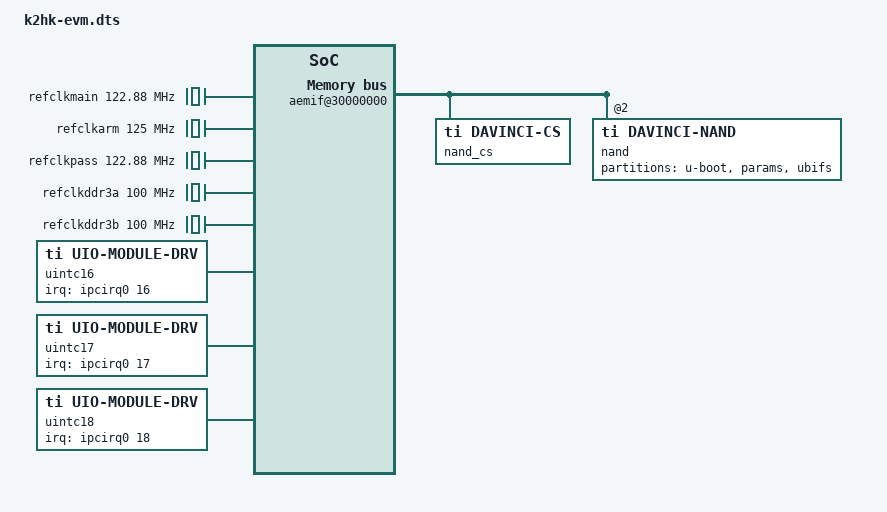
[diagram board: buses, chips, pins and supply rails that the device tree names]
/*
 * Keystone 2 Hawking/Kepler EVM device tree file
 *
 * Copyright (c) 2012-14, Texas Instruments Inc
 * All rights reserved.
 *
 * Redistribution and use in source and binary forms, with or without
 * modification, are permitted provided that the following conditions are
 * met:
 *
 * * Redistributions of source code must retain the above copyright
 *	notice, this list of conditions and the following disclaimer.
 * * Redistributions in binary form must reproduce the above copyright
 *	notice, this list of conditions and the following disclaimer in
 *	the documentation and/or other materials provided with the
 *	distribution.
 * * Neither the name of TI nor the names of its contributors may be
 *	used to endorse or promote products derived from this software
 *	without specific prior written permission.
 *
 * THIS SOFTWARE IS PROVIDED BY THE COPYRIGHT HOLDERS AND CONTRIBUTORS "AS
 * IS" AND ANY EXPRESS OR IMPLIED WARRANTIES, INCLUDING, BUT NOT LIMITED
 * TO, THE IMPLIED WARRANTIES OF MERCHANTABILITY AND FITNESS FOR A
 * PARTICULAR PURPOSE ARE DISCLAIMED. IN NO EVENT SHALL THE COPYRIGHT
 * HOLDER OR CONTRIBUTORS BE LIABLE FOR ANY DIRECT, INDIRECT, INCIDENTAL,
 * SPECIAL, EXEMPLARY, OR CONSEQUENTIAL DAMAGES (INCLUDING, BUT NOT LIMITED
 * TO, PROCUREMENT OF SUBSTITUTE GOODS OR SERVICES; LOSS OF USE, DATA, OR
 * PROFITS; OR BUSINESS INTERRUPTION) HOWEVER CAUSED AND ON ANY THEORY OF
 * LIABILITY, WHETHER IN CONTRACT, STRICT LIABILITY, OR TORT (INCLUDING
 * NEGLIGENCE OR OTHERWISE) ARISING IN ANY WAY OUT OF THE USE OF THIS
 * SOFTWARE, EVEN IF ADVISED OF THE POSSIBILITY OF SUCH DAMAGE.
 */

/dts-v1/;

/include/ "keystone.dtsi"
/include/ "k2hk.dtsi"

/ {
	compatible = "ti,k2hk-evm", "ti,keystone";

	aliases {
		ethernet1 = &interface1;
		mdio-gpio0 = <&mdiox0>;
	};

    /*****************************************************************************
     * SYSLIB qos tree changes:
     *  - L3 Shapers send packets back to PDSP5 i.e. 645
     *  - L2 Shapers send the packets to CPSW i.e. 648
     *****************************************************************************/
	l3qostree: l3-qos-tree {
		output-queue = <645>;		/* L3 QOS outputs to PDSP5 for L2 QOS */
	};
	l2qostree0: l2-qos-tree-eth0 {
		output-queue = <648>;		/* L2 QOS on eth0 outputs to CPSW */
	};
	l2qostree1: l2-qos-tree-eth1 {
		output-queue = <648>;		/* L2 QOS on eth1 outputs to CPSW */
	};

	/include/ "keystone-qostree.dtsi"

	soc {
		clocks {
			refclkmain: refclkmain {
				#clock-cells = <0>;
				compatible = "fixed-clock";
				clock-frequency = <122880000>;
				clock-output-names = "refclk-main";
			};

			refclkarm: refclkarm {
				#clock-cells = <0>;
				compatible = "fixed-clock";
				clock-frequency = <125000000>;
				clock-output-names = "refclk-arm";
			};

			refclkpass: refclkpass {
				#clock-cells = <0>;
				compatible = "fixed-clock";
				clock-frequency = <122880000>;
				clock-output-names = "refclk-pass";
			};

			refclkddr3a: refclkddr3a {
				#clock-cells = <0>;
				compatible = "fixed-clock";
				clock-frequency = <100000000>;
				clock-output-names = "refclk-ddr3a";
			};

			refclkddr3b: refclkddr3b {
				#clock-cells = <0>;
				compatible = "fixed-clock";
				clock-frequency = <100000000>;
				clock-output-names = "refclk-ddr3b";
			};

		};

		aemif@30000000 {
			nand_cs:cs2@30000000 {
				compatible = "ti,davinci-cs";
				#address-cells = <1>;
				#size-cells = <1>;
				/* all timings in nanoseconds */
				ti,davinci-cs-ta = <12>;
				ti,davinci-cs-rhold = <6>;
				ti,davinci-cs-rstrobe = <23>;
				ti,davinci-cs-rsetup = <9>;
				ti,davinci-cs-whold = <8>;
				ti,davinci-cs-wstrobe = <23>;
				ti,davinci-cs-wsetup = <8>;
			};

			nand@2,0 {
				compatible = "ti,davinci-nand";
				reg = <2 0x0 0x8000000
					6 0x0 0x100>;
				#address-cells = <1>;
				#size-cells = <1>;
				ti,davinci-chipselect = <0>;
				ti,davinci-mask-ale = <0x2000>;
				ti,davinci-mask-cle = <0x4000>;
				ti,davinci-mask-chipsel = <0>;
				ti,davinci-ecc-mode = "hw";
				ti,davinci-ecc-bits = <4>;
				ti,davinci-nand-use-bbt;
				ti,davinci-no-subpage-write;
				clocks = <&clkaemif>;
				clock-names = "aemif";

				partition@0 {
					label = "u-boot";
					reg = <0x0 0x100000>;
					read-only;
				};

				partition@100000 {
					label = "params";
					reg = <0x100000 0x80000>;
					read-only;
				};

				partition@180000 {
					label = "ubifs";
					reg = <0x180000 0x1fe80000>;
				};
			};
		};

		hwqueue0: hwqueue@2a40000 {
			queues {
				qos-inputs-1 {
					values			= <8000 192>;
					pdsp-id			= <3>;
					ticks-per-sec		= <10000>;
					qos-cfg			= <4 50 1 1 0xf00 0 0>;
					sched-port-configs	= <0 20 0x1c8>;
					drop-out-profiles	= <0 36 0xc>;
					drop-cfg-profiles	= <0 8 0x14>;
					drop-queue-configs	= <0 80 0x4>;
					drop-policies           = <&droppolicies>;
					qos-tree                = <&l3qostree>;
					statistics-profiles	= <0 48>;
					reserved;
				};
				qos-inputs-2 {
					values			= <6400 192>;
					pdsp-id			= <7>;
					ticks-per-sec		= <10000>;
					qos-cfg			= <4 50 1 1 0xf00 0 0>;
					sched-port-configs	= <0 20 0x1c8>;
					drop-out-profiles	= <0 36 0xc>;
					drop-cfg-profiles	= <0 8 0x14>;
					drop-queue-configs	= <0 80 0x4>;
					drop-policies           = <&droppolicies>;
					qos-tree                = <&l2qostree0 &l2qostree1>;
					statistics-profiles	= <0 48>;
					reserved;
				};
			};
		};

		uio_hyperlink0: hyperlink0 {
			compatible = "ti,uio-module-drv";
			mem  = <0x21400000 0x00000100
				0x40000000 0x10000000
				0x0231a000 0x00002000>;
			clocks = <&clkhyperlink0>;
			interrupts	= <0 387 0x101>;
			label = "hyperlink0";
			cfg-params
			{
				ti,serdes_refclk_khz = <312500>;
				ti,serdes_maxserrate_khz = <6250000>;
				ti,serdes_lanerate = "half";
				ti,serdes_numlanes = <4>;
				ti,serdes_c1 = <4 4 4 4>;
				ti,serdes_c2 = <0 0 0 0>;
				ti,serdes_cm = <0 0 0 0>;
				ti,serdes_tx_att = <12 12 12 12>;
				ti,serdes_tx_vreg = <4 4 4 4>;
				ti,serdes_rx_att = <11 11 11 11>;
				ti,serdes_rx_boost = <3 3 3 3>;
			};
		};

		uio_hyperlink1: hyperlink1 {
			compatible = "ti,uio-module-drv";
			mem  = <0x21400100 0x00000100
				0x28000000 0x08000000
				0x0231c000 0x00002000>;
			clocks = <&clkhyperlink1>;
			interrupts	= <0 388 0x101>;
			label = "hyperlink1";
			cfg-params
			{
				ti,serdes_refclk_khz = <312500>;
				ti,serdes_maxserrate_khz = <6250000>;
				ti,serdes_lanerate = "half";
				ti,serdes_numlanes = <4>;
				ti,serdes_c1 = <4 4 4 4>;
				ti,serdes_c2 = <0 0 0 0>;
				ti,serdes_cm = <0 0 0 0>;
				ti,serdes_tx_att = <12 12 12 12>;
				ti,serdes_tx_vreg = <4 4 4 4>;
				ti,serdes_rx_att = <11 11 11 11>;
				ti,serdes_rx_boost = <3 3 3 3>;
			};
		};

		uio_srio: srio {
			compatible = "ti,uio-module-drv";
			mem  = <0x0232C000 0x00002000
				0x02900000 0x00040000
				0x0232C000 0x00002000>;
			clocks=<&clksrio>;
			interrupts = <0 154 0xf01>;
			label = "srio";
		};

        /*****************************************************************************
         * SYSLIB interrupt definitions:
         *  - The sections below have been added to hook the required interrupts with
         *    the UIO driver.
         *****************************************************************************/

        /******************************************************************************
         * Queue Pend Interrupts: This section should be correlated with the Queue Pend
         * usage by the kernel. Hook only queues which are not used by the kernel with
         * the UIO driver.
         ******************************************************************************/
        uio_uintc40: uintc40 {
            compatible      = "ti,uio-module-drv";
            interrupts      = <0 40 0x101>;
            interrupt-mode  = <1>;               /* One shot interrupt */
            label = "uintc40";
        };
        uio_uintc41: uintc41 {
            compatible      = "ti,uio-module-drv";
            interrupts      = <0 41 0x101>;
            interrupt-mode  = <1>;               /* One shot interrupt */
            label = "uintc41";
        };
        uio_uintc42: uintc42 {
            compatible      = "ti,uio-module-drv";
            interrupts      = <0 42 0x101>;
            interrupt-mode  = <1>;               /* One shot interrupt */
            label = "uintc42";
        };
        uio_uintc43: uintc43 {
            compatible      = "ti,uio-module-drv";
            interrupts      = <0 43 0x101>;
            interrupt-mode  = <1>;               /* One shot interrupt */
            label = "uintc43";
        };
        uio_uintc44: uintc44 {
            compatible      = "ti,uio-module-drv";
            interrupts      = <0 44 0x101>;
            interrupt-mode  = <1>;               /* One shot interrupt */
            label = "uintc44";
        };
        uio_uintc45: uintc45 {
            compatible      = "ti,uio-module-drv";
            interrupts      = <0 45 0x101>;
            interrupt-mode  = <1>;               /* One shot interrupt */
            label = "uintc40";
        };
        uio_uintc46: uintc46 {
            compatible      = "ti,uio-module-drv";
            interrupts      = <0 46 0x101>;
            interrupt-mode  = <1>;               /* One shot interrupt */
            label = "uintc46";
        };
        uio_uintc47: uintc47 {
            compatible      = "ti,uio-module-drv";
            interrupts      = <0 47 0x101>;
            interrupt-mode  = <1>;               /* One shot interrupt */
            label = "uintc47";
        };
        uio_uintc66: uintc66 {
            compatible      = "ti,uio-module-drv";
            interrupts      = <0 66 0x101>;
            interrupt-mode  = <1>;               /* One shot interrupt */
            label = "uintc66";
        };
        uio_uintc67: uintc67 {
            compatible      = "ti,uio-module-drv";
            interrupts      = <0 67 0x101>;
            interrupt-mode  = <1>;               /* One shot interrupt */
            label = "uintc67";
        };
        uio_uintc68: uintc68 {
            compatible      = "ti,uio-module-drv";
            interrupts      = <0 68 0x101>;
            interrupt-mode  = <1>;               /* One shot interrupt */
            label = "uintc68";
        };
        uio_uintc69: uintc69 {
            compatible      = "ti,uio-module-drv";
            interrupts      = <0 69 0x101>;
            interrupt-mode  = <1>;               /* One shot interrupt */
            label = "uintc69";
        };
        uio_uintc70: uintc70 {
            compatible      = "ti,uio-module-drv";
            interrupts      = <0 70 0x101>;
            interrupt-mode  = <1>;               /* One shot interrupt */
            label = "uintc70";
        };
        uio_uintc71: uintc71 {
            compatible      = "ti,uio-module-drv";
            interrupts      = <0 71 0x101>;
            interrupt-mode  = <1>;               /* One shot interrupt */
            label = "uintc71";
        };
        uio_uintc72: uintc72 {
            compatible      = "ti,uio-module-drv";
            interrupts      = <0 72 0x101>;
            interrupt-mode  = <1>;               /* One shot interrupt */
            label = "uintc72";
        };
        uio_uintc73: uintc73 {
            compatible      = "ti,uio-module-drv";
            interrupts      = <0 73 0x101>;
            interrupt-mode  = <1>;               /* One shot interrupt */
            label = "uintc73";
        };
        uio_uintc74: uintc74 {
            compatible      = "ti,uio-module-drv";
            interrupts      = <0 74 0x101>;
            interrupt-mode  = <1>;               /* One shot interrupt */
            label = "uintc74";
        };
        uio_uintc75: uintc75 {
            compatible      = "ti,uio-module-drv";
            interrupts      = <0 75 0x101>;
            interrupt-mode  = <1>;               /* One shot interrupt */
            label = "uintc75";
        };
        uio_uintc76: uintc76 {
            compatible      = "ti,uio-module-drv";
            interrupts      = <0 76 0x101>;
            interrupt-mode  = <1>;               /* One shot interrupt */
            label = "uintc76";
        };
        uio_uintc77: uintc77 {
            compatible      = "ti,uio-module-drv";
            interrupts      = <0 77 0x101>;
            interrupt-mode  = <1>;               /* One shot interrupt */
            label = "uintc77";
        };
        uio_uintc78: uintc78 {
            compatible      = "ti,uio-module-drv";
            interrupts      = <0 78 0x101>;
            interrupt-mode  = <1>;               /* One shot interrupt */
            label = "uintc78";
        };
        uio_uintc79: uintc79 {
            compatible      = "ti,uio-module-drv";
            interrupts      = <0 79 0x101>;
            interrupt-mode  = <1>;               /* One shot interrupt */
            label = "uintc79";
        };

        /******************************************************************************
         * Accumulated Interrupts: [PDSP3]
         ******************************************************************************/
        uio_uintc253: uintc253 {
            compatible      = "ti,uio-module-drv";
            interrupts      = <0 253 0x101>;
            label = "uintc253";
        };
        uio_uintc254: uintc254 {
            compatible      = "ti,uio-module-drv";
            interrupts      = <0 254 0x101>;
            label = "uintc254";
        };
        uio_uintc255: uintc255 {
            compatible      = "ti,uio-module-drv";
            interrupts      = <0 255 0x101>;
            label = "uintc255";
        };
        uio_uintc256: uintc256 {
            compatible      = "ti,uio-module-drv";
            interrupts      = <0 256 0x101>;
            label = "uintc256";
        };
        uio_uintc257: uintc257 {
            compatible      = "ti,uio-module-drv";
            interrupts      = <0 257 0x101>;
            label = "uintc257";
        };
        uio_uintc258: uintc258 {
            compatible      = "ti,uio-module-drv";
            interrupts      = <0 258 0x101>;
            label = "uintc258";
        };
        uio_uintc259: uintc259 {
            compatible      = "ti,uio-module-drv";
            interrupts      = <0 259 0x101>;
            label = "uintc259";
        };
        uio_uintc260: uintc260 {
            compatible      = "ti,uio-module-drv";
            interrupts      = <0 260 0x101>;
            label = "uintc260";
        };

        /******************************************************************************
         * IPC Interrupts:
         *  The interrupt number is the source identifier.
         ******************************************************************************/
        uio_uintc16: uintc16 {
            compatible        = "ti,uio-module-drv";
            interrupt-parent  = <&ipcirq0>;
            interrupts        = <16 0>;      /* Source Identifier 16 */
            label = "uintc16";
        };
        uio_uintc17: uintc17 {
            compatible        = "ti,uio-module-drv";
            interrupt-parent  = <&ipcirq0>;
            interrupts        = <17 0>;      /* Source Identifier 17 */
            label = "uintc17";
        };
        uio_uintc18: uintc18 {
            compatible        = "ti,uio-module-drv";
            interrupt-parent  = <&ipcirq0>;
            interrupts        = <18 0>;      /* Source Identifier 18 */
            label = "uintc18";
        };

        /*****************************************************************************
         * SYSLIB EMU Counter memory map through UIO definition
         *  - The sections below have been added to map the EMU Counter regsiter
         * through UIO
         *****************************************************************************/
         uio_emucnt: emucnt {
             compatible = "ti,uio-module-drv";
             mem  = <0x023101f0 0x00000010>;
             freq = <0x0 0x3B9ACA00>;
             label = "emucnt";
         };
	};
};
